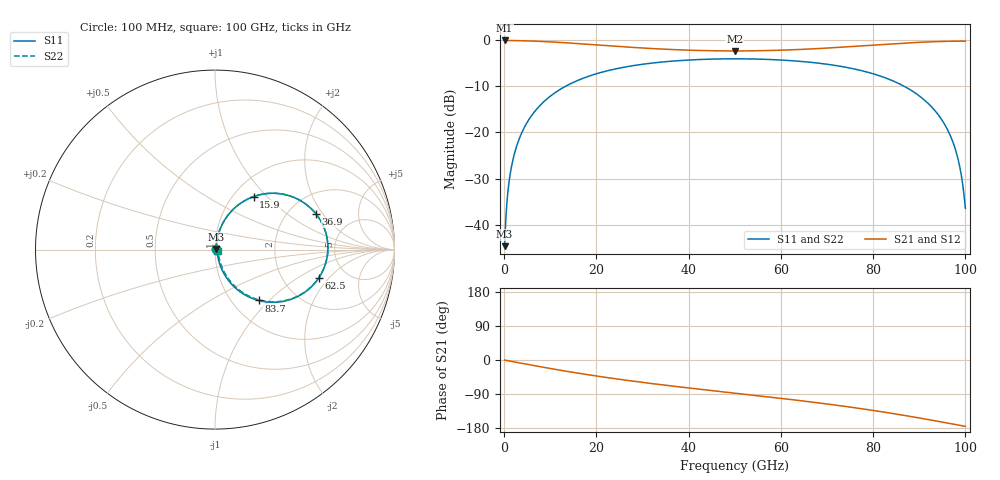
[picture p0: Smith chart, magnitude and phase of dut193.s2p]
! Touchstone file exported from HFSS 2026.1.0
!  File:  C:/ffzhzh/LocalFiles/Ansys_Project_Files/temp_train_RDL_193_1783500580_44152.aedt
!  Generated:  04:51:09 PM Jul  8, 2026
!  Design:  RDL
!  Project:  temp_train_RDL_193_1783500580_44152
! Variables:
!  h_bsmrdl = 2um
!  h_ox = 20um
!  h_rdl = 5um
!  h_sub = 80um
!  h_tmrdl = 2.13um
!  h_tsv = 80um
!  h_via = 3um
!  l_bsmrdl = 300um
!  l_sub = 972.77um
!  l_tmrdl = 572.77um
!  m_sub = 200um
!  pitch = 50.4um
!  r_tsv = 6um
!  s_tmrdl = 10um
!  w_bsmrdl = 18um
!  w_sub = 500um
!  w_tmrdl = 19.52um
!  x_tsv_center1 = 582.53um
!  x_tsv_center2 = 900.53um
!  x_tsv_center3 = 1492.82um
!  x_tsv_center4 = 1810.82um
!  x_tsv_center5 = 2403.11um
!  x_tsv_center6 = 2721.11um
# GHz S MA R 50.000000
! Terminal data exported
! Port[1] = TM_RDL1_1_T1
! Port[2] = TM_RDL1_1_T2
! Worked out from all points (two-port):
!   1000 points, 100 MHz to 100 GHz, reference 50 ohm
!   highest |S21| = -0.04 dB at 100 MHz (marker M1); lowest = -2.3 dB at 50 GHz (marker M2)
!   |S21| within 3 dB of the highest: start of sweep to end of sweep
!   lowest |S11| = -44.7 dB at 100 MHz (marker M3), VSWR 1.01, Z = 50.5 + j0.284 ohm
!   |S11| at or under -10 dB: start of sweep to 13.28 GHz; 86.76 GHz to end of sweep
!   |S22| runs from -44.7 to -4.0 dB; largest |S21 - S12| = 1.7e-14
!   S11 on the Smith chart (normalised r, x): 100 MHz: 1.01, +0.01; 15.9 GHz: 1.23, +0.84; 36.9 GHz: 2.78, +1.72; 62.5 GHz: 3.17, -1.55; 83.7 GHz: 1.32, -0.87; 100 GHz: 1.02, -0.02
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0.1  0.005853 28.7  0.9949 -0.2  0.9949 -0.2  0.005853 28.7
! Gamma 0 0 0 0
! Port Impedance 50 0 50 0
0.9  0.02502 73.8  0.9936 -2.1  0.9936 -2.1  0.02502 73.8
1.5  0.04026 77.3  0.9927 -3.5  0.9927 -3.5  0.04026 77.3
2.6  0.06834 78.3  0.9909 -6.0  0.9909 -6.0  0.06834 78.3
4.1  0.1064 76.8  0.9872 -9.4  0.9872 -9.4  0.1064 76.8
8.8  0.2202 68.0  0.9672 -19.8  0.9672 -19.8  0.2202 68.0
15.9  0.3658 53.9  0.9205 -34.5  0.9205 -34.5  0.3658 53.9
16.8  0.3816 52.2  0.9139 -36.2  0.9139 -36.2  0.3816 52.2
33.4  0.5753 24.6  0.8062 -64.3  0.8062 -64.3  0.5753 24.7
36.9  0.5963 19.6  0.7911 -69.4  0.7911 -69.4  0.5962 19.7
50  0.6293 1.8  0.7659 -87.5  0.7659 -87.5  0.6293 1.9
50.1  0.6293 1.7  0.7659 -87.6  0.7659 -87.6  0.6293 1.8
62.5  0.5997 -15.2  0.7886 -104.8  0.7886 -104.8  0.5997 -14.9
66.7  0.575 -21.2  0.806 -111.0  0.806 -111.0  0.575 -21.0
83.4  0.3783 -48.9  0.9096 -139.5  0.9096 -139.5  0.3783 -48.2
83.7  0.3731 -49.4  0.9116 -140.1  0.9116 -140.1  0.3731 -48.8
90.5  0.2384 -62.3  0.9526 -154.0  0.9526 -154.0  0.2385 -61.1
95.2  0.1297 -70.3  0.9713 -164.3  0.9713 -164.3  0.13 -67.9
96.8  0.0908 -71.8  0.9751 -167.9  0.9751 -167.9  0.09145 -68.3
98.1  0.05898 -71.0  0.9771 -170.8  0.9771 -170.8  0.0601 -65.6
98.9  0.03955 -67.6  0.9778 -172.6  0.9778 -172.6  0.04132 -59.7
100  0.01506 -40.5  0.9782 -175.1  0.9782 -175.1  0.01958 -27.9
